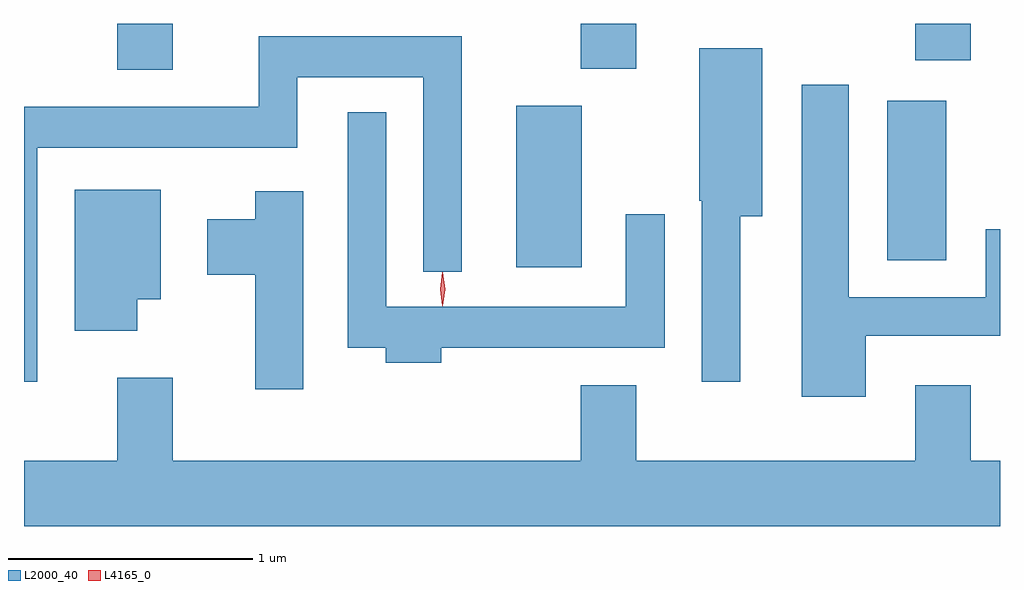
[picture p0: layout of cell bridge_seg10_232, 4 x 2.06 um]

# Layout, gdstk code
import gdstk
lib = gdstk.Library(unit=1e-6, precision=1e-09)
def R(c, l, rs):  # rectangles x0, y0, x1, y1
    for r in rs: c.add(gdstk.rectangle(r[:2], r[2:], *l))
def P(c, l, *ps):  # polygons
    for p in ps: c.add(gdstk.Polygon(p, *l))
L2000_40 = (2000, 40)
L4165_0 = (4165, 0)

bridge_seg10_232 = lib.new_cell('bridge_seg10_232')
R(bridge_seg10_232, L2000_40, [(1740.026,2099.436,1740.294,2100.099), (1741.546,2099.466,1741.789,2100.119), (1738.391,2100.246,1738.619,2100.434), (1740.291,2100.251,1740.519,2100.434), (1741.661,2100.286,1741.889,2100.434)])
P(bridge_seg10_232, L2000_40, [(1738.064,2099.926),(1739.129,2099.926),(1739.129,2100.216),(1739.646,2100.216),(1739.646,2099.418),(1739.804,2099.418),(1739.804,2100.384),(1738.971,2100.384),(1738.971,2100.094),(1738.009,2100.094),(1738.009,2098.968),(1738.064,2098.968)],
  [(1740.944,2099.646),(1741.034,2099.646),(1741.034,2100.334),(1740.776,2100.334),(1740.776,2099.71),(1740.786,2099.71),(1740.786,2098.968),(1740.944,2098.968)],
  [(1741.459,2099.156),(1742.009,2099.156),(1742.009,2099.593),(1741.951,2099.593),(1741.951,2099.314),(1741.389,2099.314),(1741.389,2100.184),(1741.196,2100.184),(1741.196,2098.906),(1741.459,2098.906)],
  [(1739.719,2099.106),(1740.634,2099.106),(1740.634,2099.653),(1740.476,2099.653),(1740.476,2099.274),(1739.494,2099.274),(1739.494,2100.073),(1739.336,2100.073),(1739.336,2099.106),(1739.491,2099.106),(1739.491,2099.046),(1739.719,2099.046)],
  [(1738.474,2099.306),(1738.569,2099.306),(1738.569,2099.754),(1738.216,2099.754),(1738.216,2099.176),(1738.474,2099.176)],
  [(1739.154,2099.749),(1738.956,2099.749),(1738.956,2099.634),(1738.761,2099.634),(1738.761,2099.406),(1738.956,2099.406),(1738.956,2098.936),(1739.154,2098.936)],
  [(1742.009,2098.644),(1741.889,2098.644),(1741.889,2098.954),(1741.661,2098.954),(1741.661,2098.644),(1740.519,2098.644),(1740.519,2098.954),(1740.291,2098.954),(1740.291,2098.644),(1738.619,2098.644),(1738.619,2098.984),(1738.391,2098.984),(1738.391,2098.644),(1738.009,2098.644),(1738.009,2098.376),(1742.009,2098.376)])
P(bridge_seg10_232, L4165_0, [(1739.725,2099.279),(1739.724,2099.28),(1739.715,2099.346),(1739.724,2099.412),(1739.725,2099.413),(1739.725,2099.412),(1739.735,2099.346),(1739.725,2099.28)],
  [(1739.725,2099.277),(1739.724,2099.278),(1739.715,2099.347),(1739.724,2099.416),(1739.725,2099.416),(1739.725,2099.416),(1739.735,2099.347),(1739.725,2099.278)])

lib.write_gds('bridge_seg10_232.gds')
